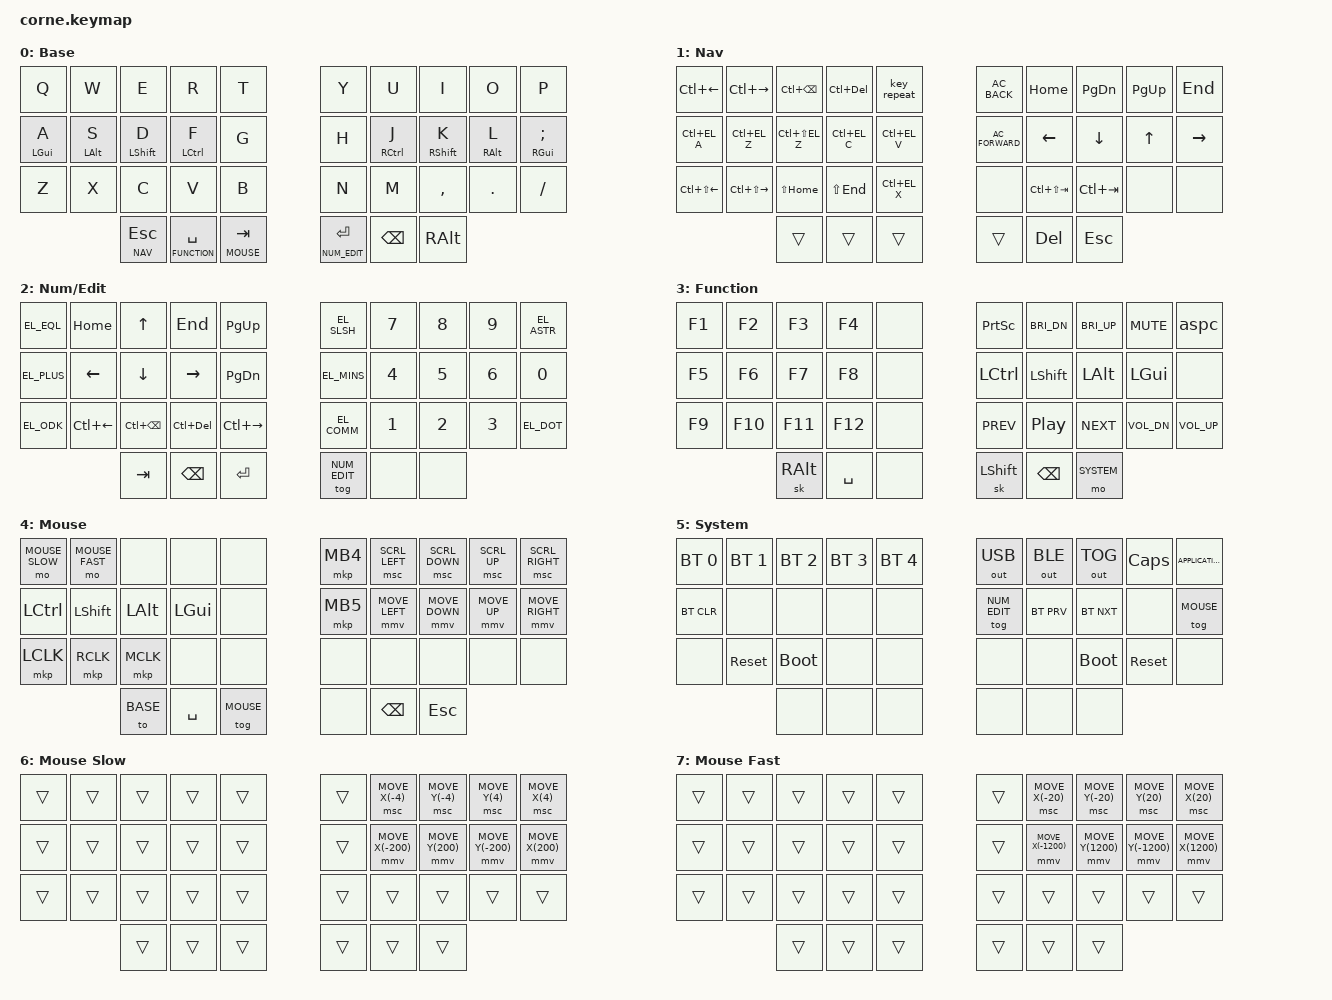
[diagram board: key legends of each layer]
/*
 * Copyright (c) 2020 The ZMK Contributors
 *
 * SPDX-License-Identifier: MIT
 */

#include <behaviors.dtsi>
#include <dt-bindings/zmk/keys.h>
#include <dt-bindings/zmk/bt.h>
#include <dt-bindings/zmk/modifiers.h>
#include <dt-bindings/zmk/outputs.h>
#include <dt-bindings/zmk/pointing.h>
#include "ergol.h"

#define BASE 0
#define NAV 1
#define NUM_EDIT 2
#define FUNCTION 3
#define MOUSE 4
#define SYSTEM 5
#define MOUSE_SLOW 6
#define MOUSE_FAST 7

&sk {
        release-after-ms = <1000>;
};

/ {
        chosen {
                zmk,physical-layout = &foostan_corne_5col_layout;
        };

        combos {
                compatible = "zmk,combos";

                clear_all_bluetooth {
                        bindings = <&bt BT_CLR_ALL>;
                        key-positions = <20 29>;
                        timeout-ms = <100>;
                        layers = <SYSTEM>;
                };
        };

        behaviors {
                aspc: ascii_space {
                        compatible = "zmk,behavior-mod-morph";
                        #binding-cells = <0>;
                        bindings = <&kp SPACE>, <&kp SPACE>;
                        mods = <(MOD_LSFT | MOD_RSFT | MOD_RALT)>;
                };

                hml: home_row_mod_left {
                        compatible = "zmk,behavior-hold-tap";
                        #binding-cells = <2>;
                        flavor = "balanced";
                        require-prior-idle-ms = <150>;
                        tapping-term-ms = <200>;
                        quick-tap-ms = <175>;
                        bindings = <&kp>, <&kp>;
                        // Right-hand positions
                        hold-trigger-key-positions = <
                                5 6 7 8 9
                                15 16 17 18 19
                                25 26 27 28 29
                                33 34 35
                        >;
                        hold-trigger-on-release;
                };
                hmr: home_row_mod_right {
                        compatible = "zmk,behavior-hold-tap";
                        #binding-cells = <2>;
                        flavor = "balanced";
                        require-prior-idle-ms = <150>;
                        tapping-term-ms = <200>;
                        quick-tap-ms = <175>;
                        bindings = <&kp>, <&kp>;
                        // Left-hand positions
                        hold-trigger-key-positions = <
                                0 1 2 3 4
                                10 11 12 13 14
                                20 21 22 23 24
                                30 31 32
                        >;
                        hold-trigger-on-release;
                };

                tl: thumb_layer {
                        compatible = "zmk,behavior-hold-tap";
                        #binding-cells = <2>;
                        flavor = "hold-preferred";
                        tapping-term-ms = <150>;
                        bindings = <&mo>, <&kp>;
                };
                sf: space_function {
                        compatible = "zmk,behavior-hold-tap";
                        #binding-cells = <2>;
                        flavor = "balanced";
                        tapping-term-ms = <150>;
                        quick-tap-ms = <175>;
                        bindings = <&mo>, <&kp>;
                };
        };

        keymap {
                compatible = "zmk,keymap";

                base_layer {
                        display-name = "Base";
// -----------------------------------------------------------------------------------------
// |  Q  |  W  |  E  |  R  |  T  |   |  Y  |  U   |  I  |  O  |  P  |
// |  A  |  S  |  D  |  F  |  G  |   |  H  |  J   |  K  |  L  |  ;  |
// |  Z  |  X  |  C  |  V  |  B  |   |  N  |  M   |  ,  |  .  |  /  |
//             | NAV | FUN | MSE |   | NUM | BSP  | ALT |
                        bindings = <
   &kp Q       &kp W       &kp E        &kp R        &kp T   &kp Y &kp U        &kp I        &kp O       &kp P
   &hml LGUI A &hml LALT S &hml LSHFT D &hml LCTRL F &kp G   &kp H &hmr RCTRL J &hmr RSHFT K &hmr RALT L &hmr RGUI SEMI
   &kp Z       &kp X       &kp C        &kp V        &kp B   &kp N &kp M        &kp COMMA    &kp DOT     &kp FSLH
                               &tl NAV ESC   &sf FUNCTION SPACE   &tl MOUSE TAB   &tl NUM_EDIT RET   &kp BACKSPACE   &kp RALT
                        >;
                };

                nav_layer {
                        display-name = "Nav";
// -----------------------------------------------------------------------------------------
// | C-L | C-R | C-BSP | C-DEL | REP |   | BAK  | HOME | PGDN | PGUP | END  |
// | C-A | C-Z | CS-Z  | C-C   | C-V |   | FWD  | LEFT | DOWN |  UP  | RGHT |
// | CS-L| CS-R| S-HOME| S-END | C-X |   |      | C-ST | C-T  |      |      |
//             |     |     |     |   |      | DEL  | ESC  |
                        bindings = <
   &kp LC(LEFT)     &kp LC(RIGHT)     &kp LC(BACKSPACE) &kp LC(DEL)  &key_repeat   &kp C_AC_BACK    &kp HOME        &kp PG_DN   &kp PG_UP &kp END
   &kp LC(EL_A)     &kp LC(EL_Z)      &kp LC(LS(EL_Z))  &kp LC(EL_C) &kp LC(EL_V) &kp C_AC_FORWARD &kp LEFT        &kp DOWN    &kp UP    &kp RIGHT
   &kp LC(LS(LEFT)) &kp LC(LS(RIGHT)) &kp LS(HOME)      &kp LS(END)  &kp LC(EL_X) &none            &kp LC(LS(TAB)) &kp LC(TAB) &none     &none
                                                     &trans   &trans   &trans   &trans   &kp DEL   &kp ESC
                        >;
                };

                num_edit_layer {
                        display-name = "Num/Edit";
// -----------------------------------------------------------------------------------------
// |  =  | HOME |  UP  | END | PGUP |   | / | 7 | 8 | 9 | * |
// |  +  | LEFT | DOWN | RGHT| PGDN |   | - | 4 | 5 | 6 | 0 |
// | ODK | C-L  | C-BSP| C-DEL| C-R |   | , | 1 | 2 | 3 | . |
//             | TAB | BSP | RET |   | NUM |   |   |
                        bindings = <
   &kp EL_EQL  &kp HOME     &kp UP            &kp END       &kp PG_UP      &kp EL_SLSH &kp N7 &kp N8 &kp N9 &kp EL_ASTR
   &kp EL_PLUS &kp LEFT     &kp DOWN          &kp RIGHT     &kp PG_DN      &kp EL_MINS &kp N4 &kp N5 &kp N6 &kp N0
   &kp EL_ODK  &kp LC(LEFT) &kp LC(BACKSPACE) &kp LC(DEL)   &kp LC(RIGHT)  &kp EL_COMM &kp N1 &kp N2 &kp N3 &kp EL_DOT
                                        &kp TAB   &kp BACKSPACE   &kp RET   &tog NUM_EDIT   &none   &none
                        >;
                };

                function_layer {
                        display-name = "Function";
// -----------------------------------------------------------------------------------------
// | F1  | F2  | F3  | F4  |     |   | PSCRN| BRID| BRIU| MUTE| ASCII |
// | F5  | F6  | F7  | F8  |     |   | CTRL | SHFT| ALT | GUI |       |
// | F9  | F10 | F11 | F12 |     |   | PREV | PP  | NEXT| VOLD| VOLU  |
//             | S-ALT | SPC |   |   | S-SHFT | BSP | SYS |
                        bindings = <
   &kp F1 &kp F2  &kp F3  &kp F4  &none   &kp PSCRN  &kp C_BRI_DN &kp C_BRI_UP &kp C_MUTE   &aspc
   &kp F5 &kp F6  &kp F7  &kp F8  &none   &kp LCTRL  &kp LSHFT    &kp LALT     &kp LGUI     &none
   &kp F9 &kp F10 &kp F11 &kp F12 &none   &kp C_PREV &kp C_PP     &kp C_NEXT   &kp C_VOL_DN &kp C_VOL_UP
                               &sk RALT   &kp SPACE   &none   &sk LSHFT   &kp BACKSPACE   &mo SYSTEM
                        >;
                };

                mouse_layer {
                        display-name = "Mouse";
// -----------------------------------------------------------------------------------------
// | SLOW| FAST|     |     |     |   | BACK| S_L | S_D | S_U | S_R |
// | CTRL| SHFT| ALT | GUI |     |   | FWD | M_L | M_D | M_U | M_R |
// | LCLK| RCLK| MCLK|     |     |   |     |     |     |     |     |
//             | EXIT | SPC | UNLOCK |   |     | BSP | ESC |
                        bindings = <
   &mo MOUSE_SLOW &mo MOUSE_FAST &none &none &none   &mkp MB4 &msc SCRL_LEFT &msc SCRL_DOWN &msc SCRL_UP &msc SCRL_RIGHT
   &kp LCTRL      &kp LSHFT       &kp LALT &kp LGUI &none   &mkp MB5 &mmv MOVE_LEFT &mmv MOVE_DOWN &mmv MOVE_UP &mmv MOVE_RIGHT
   &mkp LCLK      &mkp RCLK       &mkp MCLK &none &none   &none &none &none &none &none
                                      &to BASE   &kp SPACE   &tog MOUSE   &none   &kp BACKSPACE   &kp ESC
                        >;
                };

                system_layer {
                        display-name = "System";
// -----------------------------------------------------------------------------------------
// | BT1 | BT2 | BT3 | BT4 | BT5 |   | USB | BLE | TOG | CAPS| COMP|
// | CLR |     |     |     |     |   | NUM | PRV | NXT |     | MSE |
// | ALL+| RSTL| BOTL|     |     |   |     |     | BOTR| RSTR| +ALL|
//             |     |     |     |   |     |     |     |
                        bindings = <
   &bt BT_SEL 0 &bt BT_SEL 1 &bt BT_SEL 2 &bt BT_SEL 3 &bt BT_SEL 4   &out OUT_USB &out OUT_BLE &out OUT_TOG &kp CAPSLOCK &kp K_APPLICATION
   &bt BT_CLR   &none        &none        &none        &none          &tog NUM_EDIT &bt BT_PRV &bt BT_NXT &none &tog MOUSE
   &none        &sys_reset   &bootloader  &none        &none          &none &none &bootloader &sys_reset &none
                                              &none   &none   &none   &none   &none   &none
                        >;
                };

                mouse_slow_layer {
                        display-name = "Mouse Slow";
                        bindings = <
   &trans &trans &trans &trans &trans   &trans &msc MOVE_X(-4) &msc MOVE_Y(-4) &msc MOVE_Y(4) &msc MOVE_X(4)
   &trans &trans &trans &trans &trans   &trans &mmv MOVE_X(-200) &mmv MOVE_Y(200) &mmv MOVE_Y(-200) &mmv MOVE_X(200)
   &trans &trans &trans &trans &trans   &trans &trans &trans &trans &trans
                                      &trans   &trans   &trans   &trans   &trans   &trans
                        >;
                };

                mouse_fast_layer {
                        display-name = "Mouse Fast";
                        bindings = <
   &trans &trans &trans &trans &trans   &trans &msc MOVE_X(-20) &msc MOVE_Y(-20) &msc MOVE_Y(20) &msc MOVE_X(20)
   &trans &trans &trans &trans &trans   &trans &mmv MOVE_X(-1200) &mmv MOVE_Y(1200) &mmv MOVE_Y(-1200) &mmv MOVE_X(1200)
   &trans &trans &trans &trans &trans   &trans &trans &trans &trans &trans
                                      &trans   &trans   &trans   &trans   &trans   &trans
                        >;
                };
        };
};
